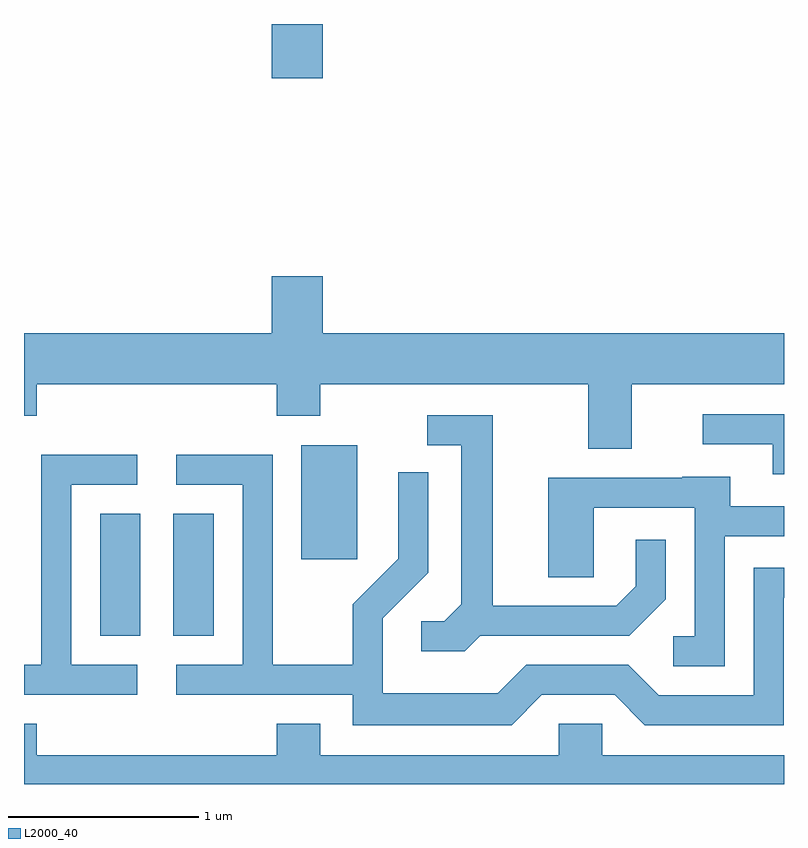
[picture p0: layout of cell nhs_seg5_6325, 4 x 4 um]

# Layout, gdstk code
import gdstk
lib = gdstk.Library(unit=1e-6, precision=1e-09)
def R(c, l, rs):  # rectangles x0, y0, x1, y1
    for r in rs: c.add(gdstk.rectangle(r[:2], r[2:], *l))
def P(c, l, *ps):  # polygons
    for p in ps: c.add(gdstk.Polygon(p, *l))
L2000_40 = (2000, 40)

nhs_seg5_6325 = lib.new_cell('nhs_seg5_6325')
R(nhs_seg5_6325, L2000_40, [(374.011,1408.851,374.224,1409.494), (374.396,1408.851,374.609,1409.494), (375.071,1409.256,375.364,1409.854), (374.916,1411.786,375.184,1412.072)])
P(nhs_seg5_6325, L2000_40, [(376.809,1410.176),(377.611,1410.176),(377.611,1410.444),(375.184,1410.444),(375.184,1410.744),(374.916,1410.744),(374.916,1410.444),(373.611,1410.444),(373.611,1410.011),(373.679,1410.011),(373.679,1410.176),(374.941,1410.176),(374.941,1410.011),(375.169,1410.011),(375.169,1410.176),(376.581,1410.176),(376.581,1409.836),(376.809,1409.836)],
  [(377.611,1410.019),(377.183,1410.019),(377.183,1409.861),(377.551,1409.861),(377.551,1409.701),(377.611,1409.701)],
  [(376.012,1408.851),(376.797,1408.851),(376.989,1409.044),(376.989,1409.358),(376.831,1409.358),(376.831,1409.112),(376.729,1409.009),(376.079,1409.009),(376.079,1410.014),(375.733,1410.014),(375.733,1409.856),(375.911,1409.856),(375.911,1409.017),(375.824,1408.929),(375.703,1408.929),(375.703,1408.771),(375.932,1408.771)],
  [(374.208,1408.699),(373.859,1408.699),(373.859,1409.646),(374.208,1409.646),(374.208,1409.804),(373.701,1409.804),(373.701,1408.699),(373.611,1408.699),(373.611,1408.541),(374.208,1408.541)],
  [(376.337,1408.541),(376.719,1408.541),(376.879,1408.381),(377.609,1408.381),(377.609,1409.051),(377.611,1409.051),(377.611,1409.209),(377.451,1409.209),(377.451,1408.539),(376.952,1408.539),(376.792,1408.699),(376.254,1408.699),(376.104,1408.549),(375.499,1408.549),(375.499,1408.944),(375.739,1409.184),(375.739,1409.713),(375.581,1409.713),(375.581,1409.257),(375.341,1409.017),(375.341,1408.699),(374.919,1408.699),(374.919,1409.804),(374.413,1409.804),(374.413,1409.646),(374.761,1409.646),(374.761,1408.699),(374.413,1408.699),(374.413,1408.541),(375.341,1408.541),(375.341,1408.381),(376.177,1408.381)],
  [(377.299,1409.376),(377.611,1409.376),(377.611,1409.534),(377.329,1409.534),(377.329,1409.689),(377.075,1409.689),(377.075,1409.684),(376.371,1409.684),(376.371,1409.161),(376.609,1409.161),(376.609,1409.526),(377.141,1409.526),(377.141,1408.849),(377.028,1408.849),(377.028,1408.691),(377.299,1408.691)],
  [(377.611,1408.224),(376.654,1408.224),(376.654,1408.389),(376.426,1408.389),(376.426,1408.224),(375.169,1408.224),(375.169,1408.389),(374.941,1408.389),(374.941,1408.224),(373.679,1408.224),(373.679,1408.389),(373.611,1408.389),(373.611,1408.072),(377.611,1408.072)])

lib.write_gds('nhs_seg5_6325.gds')
